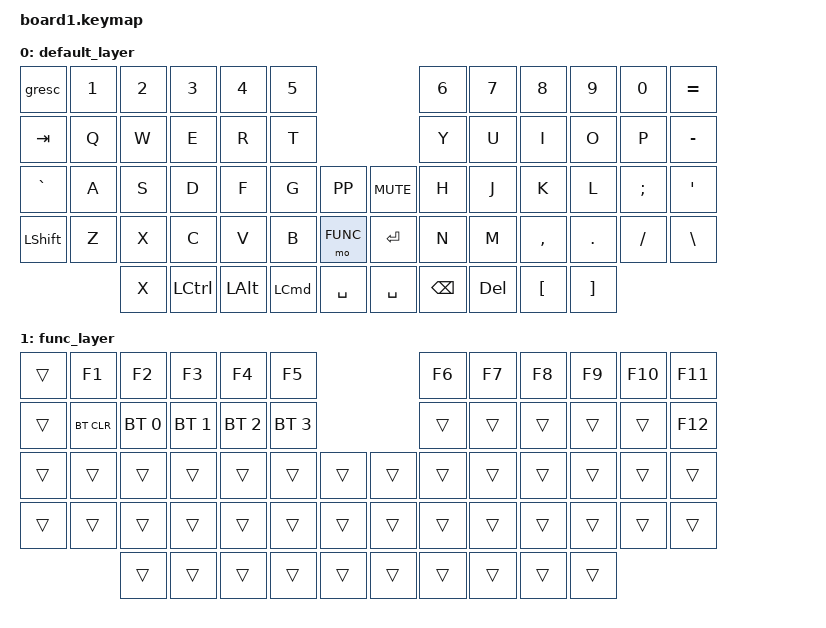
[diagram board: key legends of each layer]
// This file was generated from a template. Edit it to match your keyboard.
// See https://zmk.dev/docs/development/hardware-integration/new-shield for more instructions.

#include <behaviors.dtsi>
#include <dt-bindings/zmk/keys.h>

#define DEFAULT 0
#define FUNC 1

/ {
    // Define a default keymap here.
    // See https://zmk.dev/docs/development/hardware-integration/new-shield#default-keymap.
    keymap {
        compatible = "zmk,keymap";

        default_layer {
            bindings = <
                &gresc         &kp N1 &kp N2 &kp N3     &kp N4    &kp N5                              &kp N6   &kp N7   &kp N8     &kp N9      &kp N0        &kp EQUAL
                &kp TAB        &kp Q  &kp W  &kp E      &kp R     &kp T                               &kp Y    &kp U    &kp I      &kp O       &kp P         &kp MINUS
                &kp GRAVE      &kp A  &kp S  &kp D      &kp F     &kp G    &kp K_PP        &kp K_MUTE &kp H    &kp J    &kp K      &kp L       &kp SEMICOLON &kp SINGLE_QUOTE
                &kp LEFT_SHIFT &kp Z  &kp X  &kp C      &kp V     &kp B    &mo FUNC        &kp RET    &kp N    &kp M    &kp COMMA  &kp PERIOD  &kp SLASH     &kp BACKSLASH
                                      &kp X  &kp LCTRL  &kp LALT  &kp LCMD &kp SPACE       &kp SPACE  &kp BSPC &kp DEL  &kp LBKT   &kp RBKT  
            >;
        };
        func_layer {
            bindings = <
                &trans &kp F1     &kp F2       &kp F3       &kp F4       &kp F5                         &kp F6 &kp F7 &kp F8 &kp F9 &kp F10 &kp F11
                &trans &bt BT_CLR &bt BT_SEL 0 &bt BT_SEL 1 &bt BT_SEL 2 &bt BT_SEL 3                   &trans &trans &trans &trans &trans  &kp F12
                &trans &trans     &trans       &trans       &trans       &trans    &trans       &trans &trans &trans &trans &trans &trans  &trans
                &trans &trans     &trans       &trans       &trans       &trans    &trans       &trans &trans &trans &trans &trans &trans  &trans
                                  &trans       &trans       &trans       &trans    &trans       &trans &trans &trans &trans &trans 
            >;
        };
    };
    sensor-bindings = <&inc_dec_kp C_VOL_UP C_VOL_DN &inc_dec_kp PG_UP PG_DN>;
};
